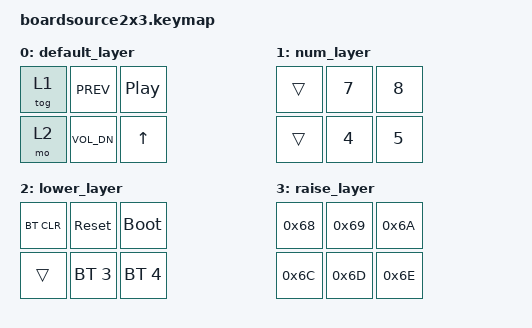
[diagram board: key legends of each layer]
/*
 * Copyright (c) 2020 The ZMK Contributors
 *
 * SPDX-License-Identifier: MIT
 */

#include <behaviors.dtsi>
#include <dt-bindings/zmk/keys.h>
#include <dt-bindings/zmk/bt.h>

/ {
    keymap {
        compatible = "zmk,keymap";

        default_layer {

            bindings = <
    &tog 1 &kp C_PREV   &kp C_PP
    &mo 2  &kp C_VOL_DN &kp UP
            >;

        };

        num_layer {
            bindings = <
    &trans   &kp N7 &kp N8
    &trans   &kp N4 &kp N5
            >;
        };

        lower_layer {
            bindings = <
    &bt BT_CLR &sys_reset       &bootloader
    &trans     &bt BT_SEL 3 &bt BT_SEL 4
            >;
        };

        raise_layer {
            bindings = <
    &kp 0x68 &kp 0x69 &kp 0x6A
    &kp 0x6C &kp 0x6D &kp 0x6E
            >;
        };
    };
};
